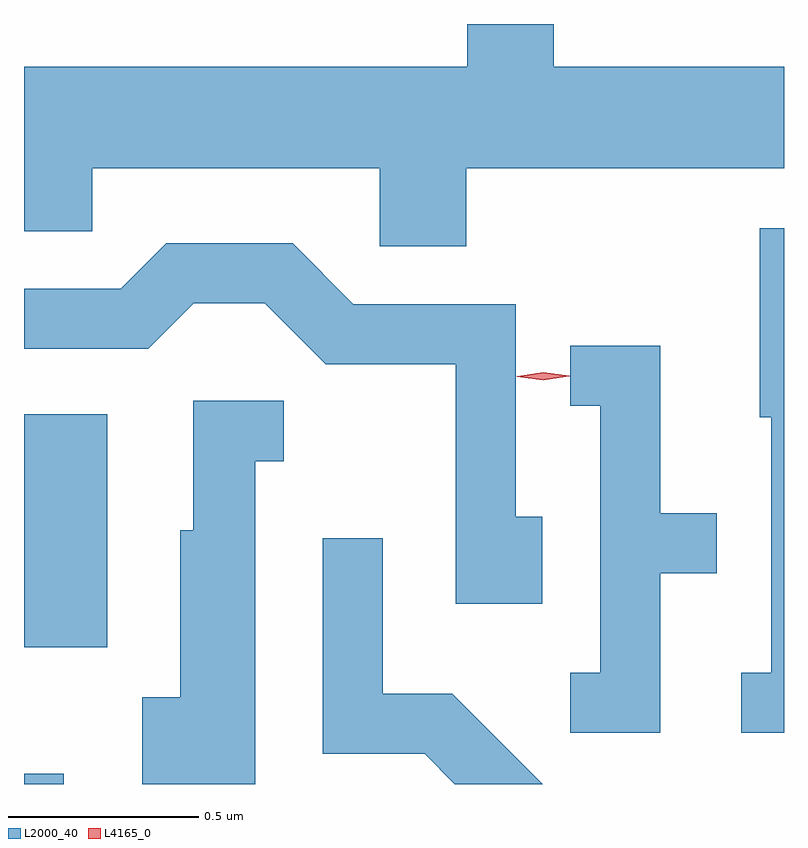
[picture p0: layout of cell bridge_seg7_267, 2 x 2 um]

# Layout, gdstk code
import gdstk
lib = gdstk.Library(unit=1e-6, precision=1e-09)
def R(c, l, rs):  # rectangles x0, y0, x1, y1
    for r in rs: c.add(gdstk.rectangle(r[:2], r[2:], *l))
def P(c, l, *ps):  # polygons
    for p in ps: c.add(gdstk.Polygon(p, *l))
L2000_40 = (2000, 40)
L4165_0 = (4165, 0)

bridge_seg7_267 = lib.new_cell('bridge_seg7_267')
R(bridge_seg7_267, L2000_40, [(1820.045,1708.256,1820.149,1708.283), (1820.045,1708.616,1820.264,1709.229)])
P(bridge_seg7_267, L2000_40, [(1821.209,1709.876),(1822.045,1709.876),(1822.045,1710.144),(1821.439,1710.144),(1821.439,1710.256),(1821.211,1710.256),(1821.211,1710.144),(1820.045,1710.144),(1820.045,1709.711),(1820.224,1709.711),(1820.224,1709.876),(1820.981,1709.876),(1820.981,1709.671),(1821.209,1709.671)],
  [(1822.045,1709.719),(1821.981,1709.719),(1821.981,1709.221),(1822.011,1709.221),(1822.011,1708.549),(1821.933,1708.549),(1821.933,1708.391),(1822.045,1708.391)],
  [(1821.409,1708.959),(1821.339,1708.959),(1821.339,1709.519),(1820.912,1709.519),(1820.752,1709.679),(1820.419,1709.679),(1820.299,1709.559),(1820.045,1709.559),(1820.045,1709.401),(1820.372,1709.401),(1820.492,1709.521),(1820.679,1709.521),(1820.839,1709.361),(1821.181,1709.361),(1821.181,1708.731),(1821.409,1708.731)],
  [(1821.719,1708.811),(1821.868,1708.811),(1821.868,1708.969),(1821.719,1708.969),(1821.719,1709.409),(1821.483,1709.409),(1821.483,1709.251),(1821.561,1709.251),(1821.561,1708.549),(1821.483,1708.549),(1821.483,1708.391),(1821.719,1708.391)],
  [(1820.654,1709.106),(1820.728,1709.106),(1820.728,1709.264),(1820.491,1709.264),(1820.491,1708.924),(1820.456,1708.924),(1820.456,1708.484),(1820.356,1708.484),(1820.356,1708.256),(1820.654,1708.256)],
  [(1821.172,1708.494),(1820.989,1708.494),(1820.989,1708.903),(1820.831,1708.903),(1820.831,1708.336),(1821.099,1708.336),(1821.179,1708.256),(1821.41,1708.256)])
P(bridge_seg7_267, L4165_0, [(1821.411,1709.319),(1821.345,1709.328),(1821.345,1709.329),(1821.345,1709.329),(1821.411,1709.339),(1821.477,1709.33),(1821.478,1709.329),(1821.477,1709.329)],
  [(1821.411,1709.319),(1821.343,1709.328),(1821.342,1709.329),(1821.343,1709.329),(1821.411,1709.339),(1821.48,1709.33),(1821.481,1709.329),(1821.48,1709.329)])

lib.write_gds('bridge_seg7_267.gds')
